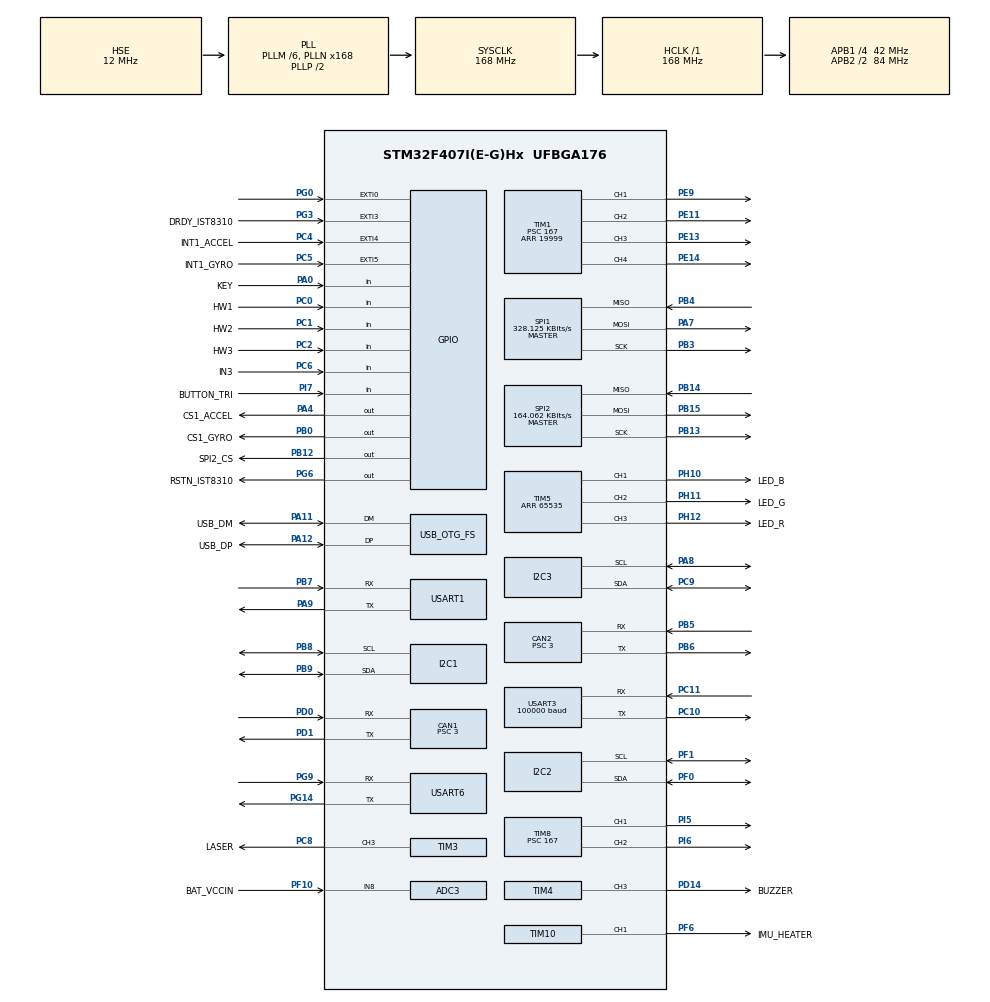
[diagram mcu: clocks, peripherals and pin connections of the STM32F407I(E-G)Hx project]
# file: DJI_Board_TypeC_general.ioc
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ADC1.Channel-0\#ChannelRegularConversion=ADC_CHANNEL_TEMPSENSOR
ADC1.ClockPrescaler=ADC_CLOCK_SYNC_PCLK_DIV6
ADC1.NbrOfConversionFlag=1
ADC1.Rank-0\#ChannelRegularConversion=1
ADC1.SamplingTime-0\#ChannelRegularConversion=ADC_SAMPLETIME_3CYCLES
ADC1.master=1
ADC3.Channel-0\#ChannelRegularConversion=ADC_CHANNEL_8
ADC3.ClockPrescaler=ADC_CLOCK_SYNC_PCLK_DIV6
ADC3.NbrOfConversionFlag=1
ADC3.Rank-0\#ChannelRegularConversion=1
ADC3.SamplingTime-0\#ChannelRegularConversion=ADC_SAMPLETIME_3CYCLES
CAN1.ABOM=ENABLE
CAN1.BS1=CAN_BS1_9TQ
CAN1.BS2=CAN_BS2_4TQ
CAN1.CalculateBaudRate=1000000
CAN1.CalculateTimeBit=1000
CAN1.CalculateTimeQuantum=71.42857142857143
CAN1.NART=ENABLE
CAN1.Prescaler=3
CAN2.ABOM=ENABLE
CAN2.BS1=CAN_BS1_9TQ
CAN2.BS2=CAN_BS2_4TQ
CAN2.CalculateBaudRate=1000000
CAN2.CalculateTimeBit=1000
CAN2.CalculateTimeQuantum=71.42857142857143
CAN2.NART=ENABLE
CAN2.Prescaler=3
Dma.I2C2_TX.5.Direction=DMA_MEMORY_TO_PERIPH
Dma.I2C2_TX.5.FIFOMode=DMA_FIFOMODE_DISABLE
Dma.I2C2_TX.5.Instance=DMA1_Stream7
Dma.I2C2_TX.5.MemDataAlignment=DMA_MDATAALIGN_BYTE
Dma.I2C2_TX.5.MemInc=DMA_MINC_ENABLE
Dma.I2C2_TX.5.Mode=DMA_NORMAL
Dma.I2C2_TX.5.PeriphDataAlignment=DMA_PDATAALIGN_BYTE
Dma.I2C2_TX.5.PeriphInc=DMA_PINC_DISABLE
Dma.I2C2_TX.5.Priority=DMA_PRIORITY_HIGH
Dma.Request0=USART1_TX
Dma.Request1=USART1_RX
Dma.Request2=USART3_RX
Dma.Request3=USART6_RX
Dma.Request4=USART6_TX
Dma.Request5=I2C2_TX
Dma.Request6=SPI1_RX
Dma.Request7=SPI1_TX
Dma.SPI1_RX.6.Direction=DMA_PERIPH_TO_MEMORY
Dma.SPI1_RX.6.FIFOMode=DMA_FIFOMODE_DISABLE
Dma.SPI1_RX.6.Instance=DMA2_Stream2
Dma.SPI1_RX.6.MemDataAlignment=DMA_MDATAALIGN_BYTE
Dma.SPI1_RX.6.MemInc=DMA_MINC_ENABLE
Dma.SPI1_RX.6.Mode=DMA_NORMAL
Dma.SPI1_RX.6.PeriphDataAlignment=DMA_PDATAALIGN_BYTE
Dma.SPI1_RX.6.PeriphInc=DMA_PINC_DISABLE
Dma.SPI1_RX.6.Priority=DMA_PRIORITY_VERY_HIGH
Dma.SPI1_TX.7.Direction=DMA_MEMORY_TO_PERIPH
Dma.SPI1_TX.7.FIFOMode=DMA_FIFOMODE_DISABLE
Dma.SPI1_TX.7.Instance=DMA2_Stream3
Dma.SPI1_TX.7.MemDataAlignment=DMA_MDATAALIGN_BYTE
Dma.SPI1_TX.7.MemInc=DMA_MINC_ENABLE
Dma.SPI1_TX.7.Mode=DMA_NORMAL
Dma.SPI1_TX.7.PeriphDataAlignment=DMA_PDATAALIGN_BYTE
Dma.SPI1_TX.7.PeriphInc=DMA_PINC_DISABLE
Dma.SPI1_TX.7.Priority=DMA_PRIORITY_HIGH
Dma.USART1_RX.1.Direction=DMA_PERIPH_TO_MEMORY
Dma.USART1_RX.1.FIFOMode=DMA_FIFOMODE_DISABLE
Dma.USART1_RX.1.Instance=DMA2_Stream5
Dma.USART1_RX.1.MemDataAlignment=DMA_MDATAALIGN_BYTE
Dma.USART1_RX.1.MemInc=DMA_MINC_ENABLE
Dma.USART1_RX.1.Mode=DMA_NORMAL
Dma.USART1_RX.1.PeriphDataAlignment=DMA_PDATAALIGN_BYTE
Dma.USART1_RX.1.PeriphInc=DMA_PINC_DISABLE
Dma.USART1_RX.1.Priority=DMA_PRIORITY_MEDIUM
Dma.USART1_TX.0.Direction=DMA_MEMORY_TO_PERIPH
Dma.USART1_TX.0.FIFOMode=DMA_FIFOMODE_DISABLE
Dma.USART1_TX.0.Instance=DMA2_Stream7
Dma.USART1_TX.0.MemDataAlignment=DMA_MDATAALIGN_BYTE
Dma.USART1_TX.0.MemInc=DMA_MINC_ENABLE
Dma.USART1_TX.0.Mode=DMA_NORMAL
Dma.USART1_TX.0.PeriphDataAlignment=DMA_PDATAALIGN_BYTE
Dma.USART1_TX.0.PeriphInc=DMA_PINC_DISABLE
Dma.USART1_TX.0.Priority=DMA_PRIORITY_MEDIUM
Dma.USART3_RX.2.Direction=DMA_PERIPH_TO_MEMORY
Dma.USART3_RX.2.FIFOMode=DMA_FIFOMODE_DISABLE
Dma.USART3_RX.2.Instance=DMA1_Stream1
Dma.USART3_RX.2.MemDataAlignment=DMA_MDATAALIGN_BYTE
Dma.USART3_RX.2.MemInc=DMA_MINC_ENABLE
Dma.USART3_RX.2.Mode=DMA_NORMAL
Dma.USART3_RX.2.PeriphDataAlignment=DMA_PDATAALIGN_BYTE
Dma.USART3_RX.2.PeriphInc=DMA_PINC_DISABLE
Dma.USART3_RX.2.Priority=DMA_PRIORITY_HIGH
Dma.USART6_RX.3.Direction=DMA_PERIPH_TO_MEMORY
Dma.USART6_RX.3.FIFOMode=DMA_FIFOMODE_DISABLE
Dma.USART6_RX.3.Instance=DMA2_Stream1
Dma.USART6_RX.3.MemDataAlignment=DMA_MDATAALIGN_BYTE
Dma.USART6_RX.3.MemInc=DMA_MINC_ENABLE
Dma.USART6_RX.3.Mode=DMA_NORMAL
Dma.USART6_RX.3.PeriphDataAlignment=DMA_PDATAALIGN_BYTE
Dma.USART6_RX.3.PeriphInc=DMA_PINC_DISABLE
Dma.USART6_RX.3.Priority=DMA_PRIORITY_HIGH
Dma.USART6_TX.4.Direction=DMA_MEMORY_TO_PERIPH
Dma.USART6_TX.4.FIFOMode=DMA_FIFOMODE_DISABLE
Dma.USART6_TX.4.Instance=DMA2_Stream6
Dma.USART6_TX.4.MemDataAlignment=DMA_MDATAALIGN_BYTE
Dma.USART6_TX.4.MemInc=DMA_MINC_ENABLE
Dma.USART6_TX.4.Mode=DMA_NORMAL
Dma.USART6_TX.4.PeriphDataAlignment=DMA_PDATAALIGN_BYTE
Dma.USART6_TX.4.PeriphInc=DMA_PINC_DISABLE
Dma.USART6_TX.4.Priority=DMA_PRIORITY_MEDIUM
FREERTOS.Tasks01=defaultTask,24,1024,StartDefaultTask,Default,NULL,Dynamic,NULL,NULL
FREERTOS.configCHECK_FOR_STACK_OVERFLOW=2
FREERTOS.configENABLE_FPU=1
FREERTOS.configGENERATE_RUN_TIME_STATS=1
FREERTOS.configTOTAL_HEAP_SIZE=65536
I2C1.I2C_Mode=I2C_Fast
I2C2.I2C_Mode=I2C_Fast
I2C3.I2C_Mode=I2C_Fast
Mcu.Family=STM32F4
Mcu.Name=STM32F407I(E-G)Hx
Mcu.Package=UFBGA176
NVIC.ADC_IRQn=true\:5\:0\:false\:false\:true\:true\:true\:true\:true
NVIC.CAN1_RX0_IRQn=true\:5\:0\:false\:false\:true\:true\:true\:true\:true
NVIC.CAN1_TX_IRQn=true\:5\:0\:false\:false\:true\:true\:true\:true\:true
NVIC.CAN2_RX0_IRQn=true\:5\:0\:false\:false\:true\:true\:true\:true\:true
NVIC.CAN2_TX_IRQn=true\:5\:0\:false\:false\:true\:true\:true\:true\:true
NVIC.DMA1_Stream1_IRQn=true\:5\:0\:false\:false\:true\:true\:false\:true\:true
NVIC.DMA1_Stream7_IRQn=true\:5\:0\:false\:false\:true\:true\:false\:true\:true
NVIC.DMA2_Stream1_IRQn=true\:5\:0\:false\:false\:true\:true\:false\:true\:true
NVIC.DMA2_Stream2_IRQn=true\:5\:0\:false\:false\:true\:true\:false\:true\:true
NVIC.DMA2_Stream3_IRQn=true\:5\:0\:false\:false\:true\:true\:false\:true\:true
NVIC.DMA2_Stream5_IRQn=true\:5\:0\:false\:false\:true\:false\:false\:true\:true
NVIC.DMA2_Stream6_IRQn=true\:5\:0\:false\:false\:true\:true\:false\:true\:true
NVIC.DMA2_Stream7_IRQn=true\:5\:0\:false\:false\:true\:true\:false\:true\:true
NVIC.EXTI0_IRQn=true\:5\:0\:false\:false\:true\:true\:true\:true\:true
NVIC.EXTI3_IRQn=true\:5\:0\:false\:false\:true\:true\:true\:true\:true
NVIC.EXTI4_IRQn=true\:5\:0\:false\:false\:true\:true\:true\:true\:true
NVIC.EXTI9_5_IRQn=true\:5\:0\:false\:false\:true\:true\:true\:true\:true
NVIC.OTG_FS_IRQn=true\:5\:0\:false\:false\:true\:true\:true\:true\:true
NVIC.PriorityGroup=NVIC_PRIORITYGROUP_4
NVIC.TIM2_IRQn=true\:0\:0\:false\:false\:true\:false\:false\:true\:true
NVIC.TimeBase=TIM2_IRQn
NVIC.TimeBaseIP=TIM2
NVIC.USART1_IRQn=true\:5\:0\:false\:false\:true\:true\:true\:true\:true
NVIC.USART3_IRQn=true\:4\:0\:true\:false\:true\:false\:true\:true\:true
NVIC.USART6_IRQn=true\:5\:0\:false\:false\:true\:true\:true\:true\:true
PA0-WKUP.GPIO_Label=KEY
PA0-WKUP.GPIO_PuPd=GPIO_PULLUP
PA0-WKUP.Signal=GPIO_Input
PA11.GPIO_Label=USB_DM
PA11.Mode=Device_Only
PA11.Signal=USB_OTG_FS_DM
PA12.GPIO_Label=USB_DP
PA12.Mode=Device_Only
PA12.Signal=USB_OTG_FS_DP
PA13.Mode=Serial_Wire
PA13.Signal=SYS_JTMS-SWDIO
PA14.Mode=Serial_Wire
PA14.Signal=SYS_JTCK-SWCLK
PA4.GPIO_Label=CS1_ACCEL
PA4.GPIO_PuPd=GPIO_PULLUP
PA4.GPIO_Speed=GPIO_SPEED_FREQ_HIGH
PA4.PinState=GPIO_PIN_SET
PA4.Signal=GPIO_Output
PA7.Mode=Full_Duplex_Master
PA7.Signal=SPI1_MOSI
PA8.GPIO_Pu=GPIO_PULLUP
PA8.Mode=I2C
PA8.Signal=I2C3_SCL
PA9.Mode=Asynchronous
PA9.Signal=USART1_TX
PB0.GPIO_Label=CS1_GYRO
PB0.GPIO_PuPd=GPIO_PULLUP
PB0.GPIO_Speed=GPIO_SPEED_FREQ_HIGH
PB0.PinState=GPIO_PIN_SET
PB0.Signal=GPIO_Output
PB12.GPIO_Label=SPI2_CS
PB12.GPIO_PuPd=GPIO_PULLUP
PB12.GPIO_Speed=GPIO_SPEED_FREQ_MEDIUM
PB12.PinState=GPIO_PIN_SET
PB12.Signal=GPIO_Output
PB13.Mode=Full_Duplex_Master
PB13.Signal=SPI2_SCK
PB14.Mode=Full_Duplex_Master
PB14.Signal=SPI2_MISO
PB15.Mode=Full_Duplex_Master
PB15.Signal=SPI2_MOSI
PB3.Mode=Full_Duplex_Master
PB3.Signal=SPI1_SCK
PB4.Mode=Full_Duplex_Master
PB4.Signal=SPI1_MISO
PB5.Mode=CAN_Activate
PB5.Signal=CAN2_RX
PB6.Mode=CAN_Activate
PB6.Signal=CAN2_TX
PB7.Mode=Asynchronous
PB7.Signal=USART1_RX
PB8.GPIO_Pu=GPIO_PULLUP
PB8.Mode=I2C
PB8.Signal=I2C1_SCL
PB9.GPIO_Pu=GPIO_PULLUP
PB9.Mode=I2C
PB9.Signal=I2C1_SDA
PC0.GPIO_Label=HW1
PC0.Signal=GPIO_Input
PC1.GPIO_Label=HW2
PC1.Signal=GPIO_Input
PC10.Mode=Asynchronous
PC10.Signal=USART3_TX
PC11.Mode=Asynchronous
PC11.Signal=USART3_RX
PC2.GPIO_Label=HW3
PC2.Signal=GPIO_Input
PC4.GPIO_Label=INT1_ACCEL
PC4.GPIO_PuPd=GPIO_PULLUP
PC4.Signal=GPXTI4
PC5.GPIO_Label=INT1_GYRO
PC5.GPIO_PuPd=GPIO_PULLUP
PC5.Signal=GPXTI5
PC6.GPIO_Label=IN3
PC6.GPIO_PuPd=GPIO_PULLUP
PC6.Signal=GPIO_Input
PC8.GPIO_Label=LASER
PC8.GPIO_Speed=GPIO_SPEED_FREQ_VERY_HIGH
PC8.Signal=S_TIM3_CH3
PC9.GPIO_Pu=GPIO_PULLUP
PC9.Mode=I2C
PC9.Signal=I2C3_SDA
PD0.Mode=CAN_Activate
PD0.Signal=CAN1_RX
PD1.Mode=CAN_Activate
PD1.Signal=CAN1_TX
PD14.GPIO_Label=BUZZER
PD14.GPIO_Speed=GPIO_SPEED_FREQ_VERY_HIGH
PD14.Signal=S_TIM4_CH3
PE11.GPIO_Speed=GPIO_SPEED_FREQ_VERY_HIGH
PE11.Signal=S_TIM1_CH2
PE13.GPIO_Speed=GPIO_SPEED_FREQ_VERY_HIGH
PE13.Signal=S_TIM1_CH3
PE14.GPIO_Speed=GPIO_SPEED_FREQ_VERY_HIGH
PE14.Signal=S_TIM1_CH4
PE9.GPIO_Speed=GPIO_SPEED_FREQ_VERY_HIGH
PE9.Signal=S_TIM1_CH1
PF0.GPIO_Pu=GPIO_PULLUP
PF0.Mode=I2C
PF0.Signal=I2C2_SDA
PF1.GPIO_Pu=GPIO_PULLUP
PF1.Mode=I2C
PF1.Signal=I2C2_SCL
PF10.GPIO_Label=BAT_VCCIN
PF10.Mode=IN8
PF10.Signal=ADC3_IN8
PF6.GPIO_Label=IMU_HEATER
PF6.GPIO_Speed=GPIO_SPEED_FREQ_VERY_HIGH
PF6.Signal=S_TIM10_CH1
PG0.GPIO_PuPd=GPIO_PULLUP
PG0.Signal=GPXTI0
PG14.Mode=Asynchronous
PG14.Signal=USART6_TX
PG3.GPIO_Label=DRDY_IST8310
PG3.GPIO_PuPd=GPIO_PULLUP
PG3.Signal=GPXTI3
PG6.GPIO_Label=RSTN_IST8310
PG6.GPIO_PuPd=GPIO_PULLUP
PG6.GPIO_Speed=GPIO_SPEED_FREQ_MEDIUM
PG6.PinState=GPIO_PIN_SET
PG6.Signal=GPIO_Output
PG9.Mode=Asynchronous
PG9.Signal=USART6_RX
PH0-OSC_IN.Mode=HSE-External-Oscillator
PH0-OSC_IN.Signal=RCC_OSC_IN
PH1-OSC_OUT.Mode=HSE-External-Oscillator
PH1-OSC_OUT.Signal=RCC_OSC_OUT
PH10.GPIO_Label=LED_B
PH10.GPIO_Speed=GPIO_SPEED_FREQ_VERY_HIGH
PH10.Signal=S_TIM5_CH1
PH11.GPIO_Label=LED_G
PH11.GPIO_Speed=GPIO_SPEED_FREQ_VERY_HIGH
PH11.Signal=S_TIM5_CH2
PH12.GPIO_Label=LED_R
PH12.GPIO_Speed=GPIO_SPEED_FREQ_VERY_HIGH
PH12.Signal=S_TIM5_CH3
PI5.GPIO_Speed=GPIO_SPEED_FREQ_VERY_HIGH
PI5.Signal=S_TIM8_CH1
PI6.GPIO_Speed=GPIO_SPEED_FREQ_VERY_HIGH
PI6.Signal=S_TIM8_CH2
PI7.GPIO_Label=BUTTON_TRI
PI7.GPIO_PuPd=GPIO_PULLUP
PI7.Signal=GPIO_Input
ProjectManager.HeapSize=0x2000
ProjectManager.StackSize=0x2000
ProjectManager.TargetToolchain=Makefile
RCC.48MHZClocksFreq_Value=48000000
RCC.AHBFreq_Value=168000000
RCC.APB1CLKDivider=RCC_HCLK_DIV4
RCC.APB1Freq_Value=42000000
RCC.APB1TimFreq_Value=84000000
RCC.APB2CLKDivider=RCC_HCLK_DIV2
RCC.APB2Freq_Value=84000000
RCC.APB2TimFreq_Value=168000000
RCC.CortexFreq_Value=168000000
RCC.HCLKFreq_Value=168000000
RCC.HSE_VALUE=12000000
RCC.HSI_VALUE=16000000
RCC.LSE_VALUE=32768
RCC.PLLM=6
RCC.PLLN=168
RCC.PLLQ=7
RCC.SYSCLKFreq_VALUE=168000000
RCC.SYSCLKSource=RCC_SYSCLKSOURCE_PLLCLK
RCC.VCOOutputFreq_Value=336000000
RTC.AsynchPrediv=124
RTC.SynchPrediv=3199
SH.S_TIM10_CH1.0=TIM10_CH1,PWM Generation1 CH1
SH.S_TIM1_CH1.0=TIM1_CH1,PWM Generation1 CH1
SH.S_TIM1_CH2.0=TIM1_CH2,PWM Generation2 CH2
SH.S_TIM1_CH3.0=TIM1_CH3,PWM Generation3 CH3
SH.S_TIM1_CH4.0=TIM1_CH4,PWM Generation4 CH4
SH.S_TIM3_CH3.0=TIM3_CH3,PWM Generation3 CH3
SH.S_TIM4_CH3.0=TIM4_CH3,PWM Generation3 CH3
SH.S_TIM5_CH1.0=TIM5_CH1,PWM Generation1 CH1
SH.S_TIM5_CH2.0=TIM5_CH2,PWM Generation2 CH2
SH.S_TIM5_CH3.0=TIM5_CH3,PWM Generation3 CH3
SH.S_TIM8_CH1.0=TIM8_CH1,PWM Generation1 CH1
SH.S_TIM8_CH2.0=TIM8_CH2,PWM Generation2 CH2
SPI1.BaudRatePrescaler=SPI_BAUDRATEPRESCALER_256
SPI1.CLKPhase=SPI_PHASE_2EDGE
SPI1.CLKPolarity=SPI_POLARITY_HIGH
SPI1.CalculateBaudRate=328.125 KBits/s
SPI1.Direction=SPI_DIRECTION_2LINES
SPI1.Mode=SPI_MODE_MASTER
SPI1.VirtualType=VM_MASTER
SPI2.BaudRatePrescaler=SPI_BAUDRATEPRESCALER_256
SPI2.CLKPhase=SPI_PHASE_2EDGE
SPI2.CLKPolarity=SPI_POLARITY_HIGH
SPI2.CalculateBaudRate=164.062 KBits/s
SPI2.Direction=SPI_DIRECTION_2LINES
SPI2.Mode=SPI_MODE_MASTER
SPI2.VirtualType=VM_MASTER
TIM1.Channel-PWM\ Generation1\ CH1=TIM_CHANNEL_1
TIM1.Channel-PWM\ Generation2\ CH2=TIM_CHANNEL_2
TIM1.Channel-PWM\ Generation3\ CH3=TIM_CHANNEL_3
TIM1.Channel-PWM\ Generation4\ CH4=TIM_CHANNEL_4
TIM1.Period=19999
TIM1.Prescaler=167
TIM1.Pulse-PWM\ Generation1\ CH1=1000
TIM1.Pulse-PWM\ Generation2\ CH2=1000
TIM1.Pulse-PWM\ Generation3\ CH3=1000
TIM1.Pulse-PWM\ Generation4\ CH4=1000
TIM10.Channel=TIM_CHANNEL_1
TIM10.Period=4999
TIM3.Channel-PWM\ Generation3\ CH3=TIM_CHANNEL_3
TIM3.Period=65535
TIM3.Prescaler=0
TIM4.Channel-PWM\ Generation3\ CH3=TIM_CHANNEL_3
TIM4.Period=0
TIM4.Prescaler=83
TIM5.Channel-PWM\ Generation1\ CH1=TIM_CHANNEL_1
TIM5.Channel-PWM\ Generation2\ CH2=TIM_CHANNEL_2
TIM5.Channel-PWM\ Generation3\ CH3=TIM_CHANNEL_3
TIM5.Period=65535
TIM8.Channel-PWM\ Generation1\ CH1=TIM_CHANNEL_1
TIM8.Channel-PWM\ Generation2\ CH2=TIM_CHANNEL_2
TIM8.Period=19999
TIM8.Prescaler=167
TIM8.Pulse-PWM\ Generation1\ CH1=1000
TIM8.Pulse-PWM\ Generation2\ CH2=1000
USART1.VirtualMode=VM_ASYNC
USART3.BaudRate=100000
USART3.Mode=MODE_RX
USART3.Parity=PARITY_EVEN
USART3.VirtualMode=VM_ASYNC
USART3.WordLength=WORDLENGTH_8B
USART6.VirtualMode=VM_ASYNC
USB_DEVICE.CLASS_NAME_FS=CDC
USB_DEVICE.VirtualMode-CDC_FS=Cdc
USB_DEVICE.VirtualModeFS=Cdc_FS
USB_OTG_FS.VirtualMode=Device_Only
VP_ADC1_TempSens_Input.Mode=IN-TempSens
VP_ADC1_Vref_Input.Mode=IN-Vrefint
VP_CRC_VS_CRC.Mode=CRC_Activate
VP_FREERTOS_VS_CMSIS_V2.Mode=CMSIS_V2
VP_RNG_VS_RNG.Mode=RNG_Activate
VP_RTC_VS_RTC_Activate.Mode=RTC_Enabled
VP_SYS_VS_tim2.Mode=TIM2
VP_TIM10_VS_ClockSourceINT.Mode=Enable_Timer
VP_TIM1_VS_ClockSourceINT.Mode=Internal
VP_TIM3_VS_ClockSourceINT.Mode=Internal
VP_TIM5_VS_ClockSourceINT.Mode=Internal
VP_TIM8_VS_ClockSourceINT.Mode=Internal
VP_USB_DEVICE_VS_USB_DEVICE_CDC_FS.Mode=CDC_FS
board=custom

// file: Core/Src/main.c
/* USER CODE BEGIN Header */
/**
  ******************************************************************************
  * @file           : main.c
  * @brief          : Main program body
  ******************************************************************************
  * @attention
  *
  * Copyright (c) 2023 STMicroelectronics.
  * All rights reserved.
  *
  * This software is licensed under terms that can be found in the LICENSE file
  * in the root directory of this software component.
  * If no LICENSE file comes with this software, it is provided AS-IS.
  *
  ******************************************************************************
  */
/* USER CODE END Header */
#include "main.h"
#include "cmsis_os.h"
#include "adc.h"
#include "can.h"
#include "crc.h"
#include "dma.h"
#include "i2c.h"
#include "rng.h"
#include "rtc.h"
#include "spi.h"
#include "tim.h"
#include "usart.h"
#include "usb_device.h"
#include "gpio.h"

void SystemClock_Config(void);
void MX_FREERTOS_Init(void);

int main(void)
{

  /* MCU Configuration--------------------------------------------------------*/

  /* Reset of all peripherals, Initializes the Flash interface and the Systick. */
  HAL_Init();

  /* Configure the system clock */
  SystemClock_Config();

  /* Initialize all configured peripherals */
  MX_GPIO_Init();
  MX_DMA_Init();
  MX_ADC1_Init();
  MX_ADC3_Init();
  MX_CRC_Init();
  MX_I2C1_Init();
  MX_I2C2_Init();
  MX_I2C3_Init();
  MX_RNG_Init();
  MX_RTC_Init();
  MX_SPI1_Init();
  MX_SPI2_Init();
  MX_TIM1_Init();
  MX_TIM3_Init();
  MX_TIM4_Init();
  MX_TIM5_Init();
  MX_TIM8_Init();
  MX_TIM10_Init();
  MX_USART1_UART_Init();
  MX_USART3_UART_Init();
  MX_USART6_UART_Init();
  MX_CAN1_Init();
  MX_CAN2_Init();

  /* Init scheduler */
  osKernelInitialize();  /* Call init function for freertos objects (in freertos.c) */
  MX_FREERTOS_Init();

  /* Start scheduler */
  osKernelStart();

  /* We should never get here as control is now taken by the scheduler */
  /* Infinite loop */
  while (1)
  {

  }
}

void SystemClock_Config(void)
{
  RCC_OscInitTypeDef RCC_OscInitStruct = {0};
  RCC_ClkInitTypeDef RCC_ClkInitStruct = {0};

  /** Configure the main internal regulator output voltage
  */
  __HAL_RCC_PWR_CLK_ENABLE();
  __HAL_PWR_VOLTAGESCALING_CONFIG(PWR_REGULATOR_VOLTAGE_SCALE1);

  /** Initializes the RCC Oscillators according to the specified parameters
  * in the RCC_OscInitTypeDef structure.
  */
  RCC_OscInitStruct.OscillatorType = RCC_OSCILLATORTYPE_LSI|RCC_OSCILLATORTYPE_HSE;
  RCC_OscInitStruct.HSEState = RCC_HSE_ON;
  RCC_OscInitStruct.LSIState = RCC_LSI_ON;
  RCC_OscInitStruct.PLL.PLLState = RCC_PLL_ON;
  RCC_OscInitStruct.PLL.PLLSource = RCC_PLLSOURCE_HSE;
  RCC_OscInitStruct.PLL.PLLM = 6;
  RCC_OscInitStruct.PLL.PLLN = 168;
  RCC_OscInitStruct.PLL.PLLP = RCC_PLLP_DIV2;
  RCC_OscInitStruct.PLL.PLLQ = 7;
  if (HAL_RCC_OscConfig(&RCC_OscInitStruct) != HAL_OK)
  {
    Error_Handler();
  }

  /** Initializes the CPU, AHB and APB buses clocks
  */
  RCC_ClkInitStruct.ClockType = RCC_CLOCKTYPE_HCLK|RCC_CLOCKTYPE_SYSCLK
                              |RCC_CLOCKTYPE_PCLK1|RCC_CLOCKTYPE_PCLK2;
  RCC_ClkInitStruct.SYSCLKSource = RCC_SYSCLKSOURCE_PLLCLK;
  RCC_ClkInitStruct.AHBCLKDivider = RCC_SYSCLK_DIV1;
  RCC_ClkInitStruct.APB1CLKDivider = RCC_HCLK_DIV4;
  RCC_ClkInitStruct.APB2CLKDivider = RCC_HCLK_DIV2;

  if (HAL_RCC_ClockConfig(&RCC_ClkInitStruct, FLASH_LATENCY_5) != HAL_OK)
  {
    Error_Handler();
  }
}

void HAL_TIM_PeriodElapsedCallback(TIM_HandleTypeDef *htim)
{
  if (htim->Instance == TIM2) {
    HAL_IncTick();
  }
}

void Error_Handler(void)
{
  __disable_irq();
  while (1)
  {
  }
}

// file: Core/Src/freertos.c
/* USER CODE BEGIN Header */
/**
  ******************************************************************************
  * File Name          : freertos.c
  * Description        : Code for freertos applications
  ******************************************************************************
  * @attention
  *
  * Copyright (c) 2023 STMicroelectronics.
  * All rights reserved.
  *
  * This software is licensed under terms that can be found in the LICENSE file
  * in the root directory of this software component.
  * If no LICENSE file comes with this software, it is provided AS-IS.
  *
  ******************************************************************************
  */
/* USER CODE END Header */

#include "FreeRTOS.h"
#include "task.h"
#include "main.h"
#include "cmsis_os.h"

/* Definitions for defaultTask */
osThreadId_t defaultTaskHandle;
const osThreadAttr_t defaultTask_attributes = {
  .name = "defaultTask",
  .stack_size = 1024 * 4,
  .priority = (osPriority_t) osPriorityNormal,
};

/* USER CODE BEGIN FunctionPrototypes */
/* implement the functions below at application level */
__weak void RM_RTOS_Init(void) {}
__weak void RM_RTOS_Mutexes_Init(void) {}
__weak void RM_RTOS_Semaphores_Init(void) {}
__weak void RM_RTOS_Timers_Init(void) {}
__weak void RM_RTOS_Queues_Init(void) {}
__weak void RM_RTOS_Threads_Init(void) {}
__weak void RM_RTOS_Ready(void) {}
__weak void RM_RTOS_Default_Task(const void *argument) { UNUSED(argument); }
/* USER CODE END FunctionPrototypes */

void StartDefaultTask(void *argument);

extern void MX_USB_DEVICE_Init(void);
void MX_FREERTOS_Init(void); /* (MISRA C 2004 rule 8.1) */

/* Hook prototypes */
void configureTimerForRunTimeStats(void);
unsigned long getRunTimeCounterValue(void);
void vApplicationStackOverflowHook(xTaskHandle xTask, signed char *pcTaskName);

/* USER CODE BEGIN 1 */
/* Functions needed when configGENERATE_RUN_TIME_STATS is on */
__weak void configureTimerForRunTimeStats(void)
{

}

__weak unsigned long getRunTimeCounterValue(void)
{
return 0;
}
/* USER CODE END 1 */

/* USER CODE BEGIN 4 */
void vApplicationStackOverflowHook(xTaskHandle xTask, signed char *pcTaskName)
{
   /* Run time stack overflow checking is performed if
   configCHECK_FOR_STACK_OVERFLOW is defined to 1 or 2. This hook function is
   called if a stack overflow is detected. */
}
/* USER CODE END 4 */

void MX_FREERTOS_Init(void) {
  /* USER CODE BEGIN Init */
    RM_RTOS_Init();
    /* USER CODE BEGIN Init */

    /* USER CODE BEGIN RTOS_MUTEX */
    /* add mutexes, ... */
    RM_RTOS_Mutexes_Init();
    /* USER CODE END RTOS_MUTEX */

    /* USER CODE BEGIN RTOS_SEMAPHORES */
    /* add semaphores, ... */
    RM_RTOS_Semaphores_Init();
    /* USER CODE END RTOS_SEMAPHORES */

    /* USER CODE BEGIN RTOS_TIMERS */
    /* start timers, add new ones, ... */
    RM_RTOS_Timers_Init();
    /* USER CODE END RTOS_TIMERS */

    /* USER CODE BEGIN RTOS_QUEUES */
    /* add queues, ... */
    RM_RTOS_Queues_Init();
    /* USER CODE END RTOS_QUEUES */

    /* Create the thread(s) */
    /* creation of defaultTask */
    defaultTaskHandle = osThreadNew(StartDefaultTask, NULL, &defaultTask_attributes);

    /* USER CODE BEGIN RTOS_THREADS */
    /* add threads, ... */
    RM_RTOS_Threads_Init();
    RM_RTOS_Ready();
    /* USER CODE END RTOS_THREADS */

    /* USER CODE BEGIN RTOS_EVENTS */
    /* add events, ... */
    /* USER CODE END RTOS_EVENTS */
  /* USER CODE END Init */
/* USER CODE BEGIN Header */
/**
  ******************************************************************************
  * File Name          : freertos.c
  * Description        : Code for freertos applications
  ******************************************************************************
  * @attention
  *
  * Copyright (c) 2023 STMicroelectronics.
  * All rights reserved.
  *
  * This software is licensed under terms that can be found in the LICENSE file
  * in the root directory of this software component.
  * If no LICENSE file comes with this software, it is provided AS-IS.
  *
  ******************************************************************************
  */
/* USER CODE END Header */

}

void StartDefaultTask(void *argument)
{
  /* init code for USB_DEVICE */
  MX_USB_DEVICE_Init();
  /* USER CODE BEGIN StartDefaultTask */
  RM_RTOS_Default_Task(argument);
  /* Infinite loop */
  for(;;)
  {
    osDelay(1);
  }
  /* USER CODE END StartDefaultTask */
}
